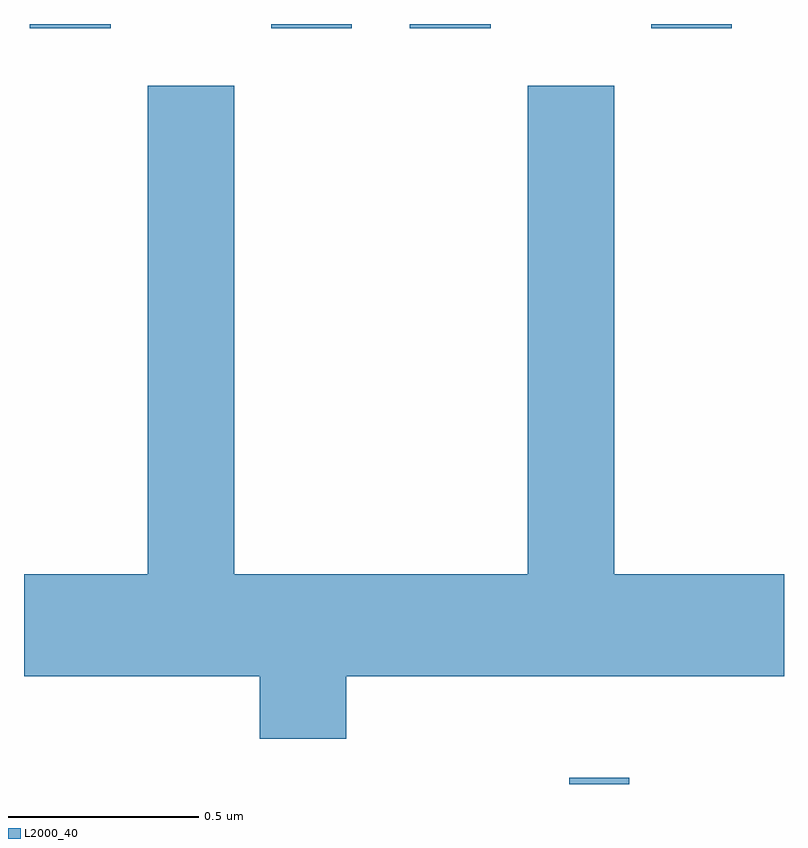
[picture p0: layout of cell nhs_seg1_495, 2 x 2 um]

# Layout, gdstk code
import gdstk
lib = gdstk.Library(unit=1e-6, precision=1e-09)
def R(c, l, rs):  # rectangles x0, y0, x1, y1
    for r in rs: c.add(gdstk.rectangle(r[:2], r[2:], *l))
def P(c, l, *ps):  # polygons
    for p in ps: c.add(gdstk.Polygon(p, *l))
L2000_40 = (2000, 40)

nhs_seg1_495 = lib.new_cell('nhs_seg1_495')
R(nhs_seg1_495, L2000_40, [(190.046,923.712,190.204,923.728), (188.626,925.701,188.839,925.712), (189.261,925.701,189.474,925.712), (189.626,925.701,189.839,925.712), (190.261,925.701,190.474,925.712)])
P(nhs_seg1_495, L2000_40, [(189.459,923.996),(190.611,923.996),(190.611,924.264),(190.164,924.264),(190.164,925.549),(189.936,925.549),(189.936,924.264),(189.164,924.264),(189.164,925.549),(188.936,925.549),(188.936,924.264),(188.611,924.264),(188.611,923.996),(189.231,923.996),(189.231,923.831),(189.459,923.831)])

lib.write_gds('nhs_seg1_495.gds')
